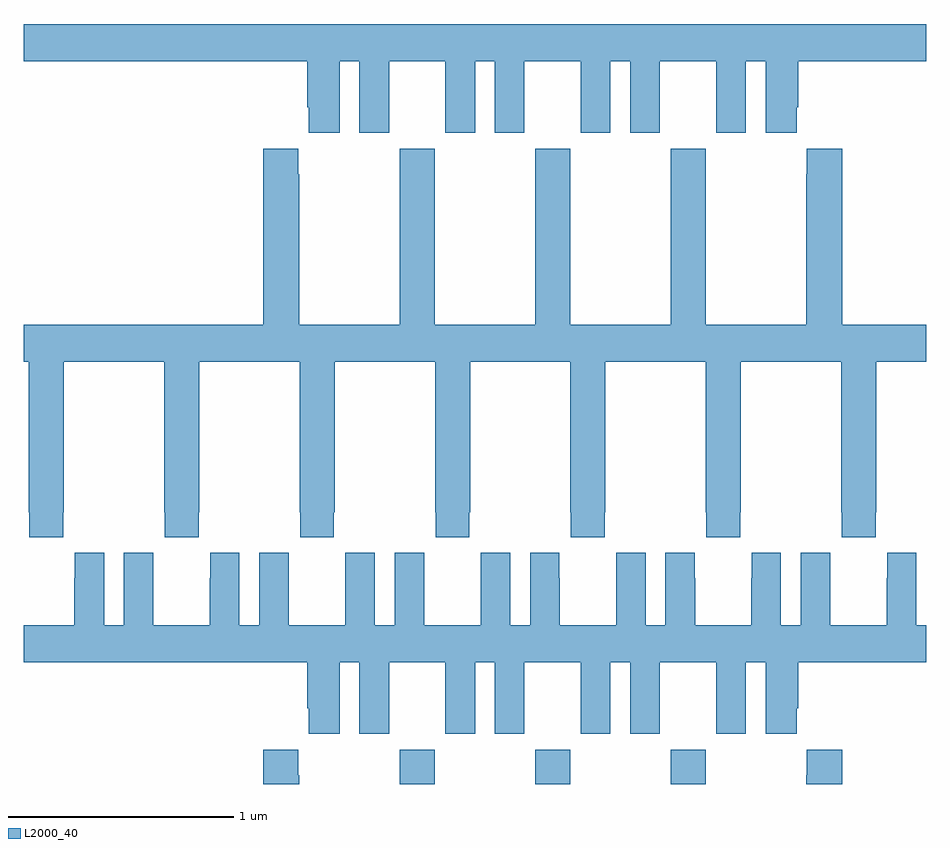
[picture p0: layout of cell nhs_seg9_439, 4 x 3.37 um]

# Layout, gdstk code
import gdstk
lib = gdstk.Library(unit=1e-6, precision=1e-09)
def R(c, l, rs):  # rectangles x0, y0, x1, y1
    for r in rs: c.add(gdstk.rectangle(r[:2], r[2:], *l))
def A(c, l, x, y, w, h, nx, ny, dx, dy):  # array of equal rectangles
    R(c, l, [(x+i*dx, y+j*dy, x+i*dx+w, y+j*dy+h) for i in range(nx) for j in range(ny)])
def P(c, l, *ps):  # polygons
    for p in ps: c.add(gdstk.Polygon(p, *l))
L2000_40 = (2000, 40)

nhs_seg9_439 = lib.new_cell('nhs_seg9_439')
A(nhs_seg9_439, L2000_40, 132.667, 1242.5, 0.155, 0.152, 3, 1, 0.6, 0)
P(nhs_seg9_439, L2000_40, [(132.4,1245.704),(132.488,1245.704),(132.488,1245.387),(132.619,1245.387),(132.619,1245.704),(132.869,1245.704),(132.869,1245.387),(133,1245.387),(133,1245.704),(133.088,1245.704),(133.088,1245.387),(133.219,1245.387),(133.219,1245.704),(133.469,1245.704),(133.469,1245.387),(133.6,1245.387),(133.6,1245.704),(133.688,1245.704),(133.688,1245.387),(133.819,1245.387),(133.819,1245.704),(134.069,1245.704),(134.069,1245.387),(134.2,1245.387),(134.2,1245.704),(134.288,1245.704),(134.288,1245.387),(134.425,1245.387),(134.425,1245.499),(134.432,1245.499),(134.432,1245.704),(135,1245.704),(135,1245.868),(131,1245.868),(131,1245.704),(132.257,1245.704),(132.257,1245.499),(132.263,1245.499),(132.263,1245.387),(132.4,1245.387)],
  [(131.175,1243.705),(131.178,1243.705),(131.178,1244.372),(131.623,1244.372),(131.623,1243.705),(131.625,1243.705),(131.625,1243.593),(131.775,1243.593),(131.775,1243.705),(131.778,1243.705),(131.778,1244.372),(132.223,1244.372),(132.223,1243.705),(132.225,1243.705),(132.225,1243.593),(132.375,1243.593),(132.375,1243.705),(132.378,1243.705),(132.378,1244.372),(132.823,1244.372),(132.823,1243.705),(132.825,1243.705),(132.825,1243.593),(132.975,1243.593),(132.975,1243.705),(132.978,1243.705),(132.978,1244.372),(133.423,1244.372),(133.423,1243.705),(133.425,1243.705),(133.425,1243.593),(133.575,1243.593),(133.575,1243.705),(133.578,1243.705),(133.578,1244.372),(134.023,1244.372),(134.023,1243.705),(134.025,1243.705),(134.025,1243.593),(134.175,1243.593),(134.175,1243.705),(134.178,1243.705),(134.178,1244.372),(134.623,1244.372),(134.623,1243.705),(134.625,1243.705),(134.625,1243.593),(134.775,1243.593),(134.775,1243.705),(134.778,1243.705),(134.778,1244.372),(135,1244.372),(135,1244.536),(134.627,1244.536),(134.627,1245.316),(134.471,1245.316),(134.471,1245.203),(134.467,1245.203),(134.467,1244.536),(134.022,1244.536),(134.022,1245.316),(133.867,1245.316),(133.867,1244.536),(133.422,1244.536),(133.422,1245.316),(133.267,1245.316),(133.267,1244.536),(132.822,1244.536),(132.822,1245.316),(132.667,1245.316),(132.667,1244.536),(132.222,1244.536),(132.222,1245.203),(132.217,1245.203),(132.217,1245.316),(132.062,1245.316),(132.062,1244.536),(131,1244.536),(131,1244.372),(131.023,1244.372),(131.023,1243.705),(131.025,1243.705),(131.025,1243.593),(131.175,1243.593)],
  [(134.356,1243.525),(134.226,1243.525),(134.226,1243.412),(134.225,1243.412),(134.225,1243.204),(133.975,1243.204),(133.975,1243.412),(133.974,1243.412),(133.974,1243.525),(133.844,1243.525),(133.844,1243.204),(133.756,1243.204),(133.756,1243.525),(133.626,1243.525),(133.626,1243.412),(133.625,1243.412),(133.625,1243.204),(133.375,1243.204),(133.375,1243.412),(133.374,1243.412),(133.374,1243.525),(133.244,1243.525),(133.244,1243.204),(133.156,1243.204),(133.156,1243.525),(133.026,1243.525),(133.026,1243.412),(133.025,1243.412),(133.025,1243.204),(132.775,1243.204),(132.775,1243.412),(132.774,1243.412),(132.774,1243.525),(132.644,1243.525),(132.644,1243.204),(132.556,1243.204),(132.556,1243.525),(132.426,1243.525),(132.426,1243.412),(132.425,1243.412),(132.425,1243.204),(132.175,1243.204),(132.175,1243.412),(132.174,1243.412),(132.174,1243.525),(132.044,1243.525),(132.044,1243.204),(131.956,1243.204),(131.956,1243.525),(131.826,1243.525),(131.826,1243.412),(131.825,1243.412),(131.825,1243.204),(131.575,1243.204),(131.575,1243.412),(131.574,1243.412),(131.574,1243.525),(131.444,1243.525),(131.444,1243.204),(131.356,1243.204),(131.356,1243.525),(131.226,1243.525),(131.226,1243.412),(131.225,1243.412),(131.225,1243.204),(131,1243.204),(131,1243.04),(132.257,1243.04),(132.257,1242.835),(132.263,1242.835),(132.263,1242.723),(132.4,1242.723),(132.4,1243.04),(132.488,1243.04),(132.488,1242.723),(132.619,1242.723),(132.619,1243.04),(132.869,1243.04),(132.869,1242.723),(133,1242.723),(133,1243.04),(133.088,1243.04),(133.088,1242.723),(133.219,1242.723),(133.219,1243.04),(133.469,1243.04),(133.469,1242.723),(133.6,1242.723),(133.6,1243.04),(133.688,1243.04),(133.688,1242.723),(133.819,1242.723),(133.819,1243.04),(134.069,1243.04),(134.069,1242.723),(134.2,1242.723),(134.2,1243.04),(134.288,1243.04),(134.288,1242.723),(134.425,1242.723),(134.425,1242.835),(134.432,1242.835),(134.432,1243.04),(135,1243.04),(135,1243.204),(134.956,1243.204),(134.956,1243.525),(134.826,1243.525),(134.826,1243.412),(134.825,1243.412),(134.825,1243.204),(134.575,1243.204),(134.575,1243.412),(134.574,1243.412),(134.574,1243.525),(134.444,1243.525),(134.444,1243.204),(134.356,1243.204)],
  [(132.222,1242.539),(132.217,1242.539),(132.217,1242.652),(132.062,1242.652),(132.062,1242.5),(132.222,1242.5)],
  [(134.627,1242.652),(134.471,1242.652),(134.471,1242.539),(134.467,1242.539),(134.467,1242.5),(134.627,1242.5)])

lib.write_gds('nhs_seg9_439.gds')
